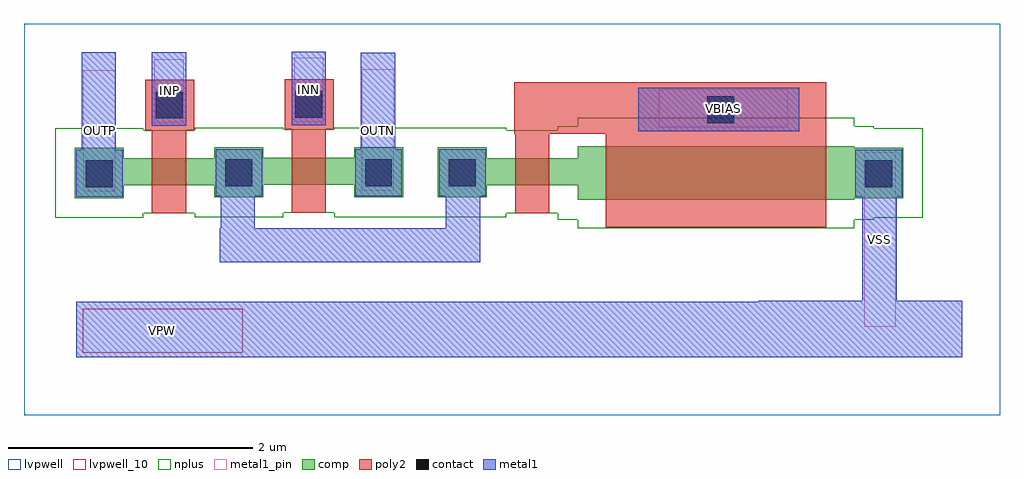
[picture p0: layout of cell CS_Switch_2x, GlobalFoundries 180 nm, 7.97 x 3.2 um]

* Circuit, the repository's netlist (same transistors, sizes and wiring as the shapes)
** sch_path: /home/ducluong/CS_DAC/xschem/CS_Switch_2x.sch
.subckt CS_Switch_2x OUTN OUTP INP INN VBIAS VSS
*.PININFO INP:I INN:I OUTP:O OUTN:O VBIAS:B VSS:B
M1 net1 VBIAS net2 VSS nfet_03v3 L=0.28u W=0.22u nf=1 m=1
M2 OUTN INN net1 VSS nfet_03v3 L=0.28u W=0.22u nf=1 m=1
M3 OUTP INP net1 VSS nfet_03v3 L=0.28u W=0.22u nf=1 m=1
M5 net2 VBIAS VSS VSS nfet_03v3 L=1.8u W=0.44u nf=1 m=1
.ends
.end

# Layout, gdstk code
import gdstk
lib = gdstk.Library(unit=1e-6, precision=1e-09)
def R(c, l, rs):  # rectangles x0, y0, x1, y1
    for r in rs: c.add(gdstk.rectangle(r[:2], r[2:], *l))
comp = (22, 0)
poly2 = (30, 0)
nplus = (32, 0)
contact = (33, 0)
metal1 = (34, 0)
metal1_pin = (34, 10)
lvpwell = (204, 0)
lvpwell_10 = (204, 10)

cs_switch_2x = lib.new_cell('CS_Switch_2x')
R(cs_switch_2x, comp, [(7.955,6.04,10.215,6.055), (3.85,6.055,4.25,6.16), (7.955,6.055,10.615,6.16), (4.99,6.06,5.39,6.16), (6.13,6.06,6.53,6.165), (6.815,6.06,7.215,6.16), (3.85,6.16,5.39,6.165), (6.815,6.16,10.615,6.38), (3.85,6.165,6.53,6.38), (3.85,6.38,4.25,6.465), (4.99,6.38,6.53,6.385), (6.815,6.38,7.215,6.47), (7.955,6.38,10.615,6.465), (4.99,6.385,5.39,6.47), (6.13,6.385,6.53,6.47), (7.955,6.465,10.215,6.48)])
R(cs_switch_2x, poly2, [(8.185,5.815,9.985,6.58), (4.48,5.93,4.76,6.61), (7.445,5.93,7.725,6.58), (5.62,5.935,5.9,6.615), (7.44,6.58,9.985,7), (4.425,6.61,4.825,7.02), (5.565,6.615,5.965,7.025)])
R(cs_switch_2x, nplus, [(7.955,5.81,10.215,5.88), (7.795,5.88,10.375,5.895), (3.69,5.895,4.41,5.93), (7.795,5.895,10.775,5.93), (4.83,5.9,5.55,5.93), (5.97,5.9,7.375,5.93), (3.69,5.93,5.55,5.935), (5.97,5.93,10.775,5.935), (3.69,5.935,10.775,6.61), (3.69,6.61,4.41,6.625), (4.83,6.61,7.375,6.615), (7.795,6.61,10.775,6.625), (4.83,6.615,5.55,6.63), (5.97,6.615,7.375,6.63), (7.795,6.625,10.375,6.64), (7.955,6.64,10.215,6.71)])
R(cs_switch_2x, contact, [(3.94,6.145,4.16,6.365), (10.305,6.145,10.525,6.365), (5.08,6.15,5.3,6.37), (6.22,6.15,6.44,6.37), (6.905,6.15,7.125,6.37), (9.015,6.665,9.235,6.885), (4.51,6.705,4.73,6.925), (5.65,6.71,5.87,6.93)])
R(cs_switch_2x, metal1, [(3.86,4.755,11.095,5.21), (9.43,5.21,11.095,5.215), (10.28,5.215,10.56,6.065), (5.035,5.53,7.16,5.81), (5.04,5.81,5.32,6.07), (6.88,5.81,7.16,6.07), (3.86,6.065,4.24,6.45), (10.225,6.065,10.605,6.45), (5,6.07,5.38,6.455), (6.14,6.07,6.52,6.455), (6.825,6.07,7.205,6.455), (3.905,6.45,4.185,7.245), (6.185,6.455,6.465,7.24), (8.45,6.6,9.765,6.955), (4.48,6.645,4.76,7.245), (5.62,6.65,5.9,7.25)])
R(cs_switch_2x, metal1_pin, [(10.295,5.005,10.555,6.43), (3.92,6.11,4.18,7.1), (6.195,6.115,6.455,7.105), (8.62,6.635,9.67,6.945), (4.5,6.67,4.74,7.19), (5.64,6.68,5.88,7.2)])
R(cs_switch_2x, lvpwell, [(3.435,4.28,11.405,7.48)])
R(cs_switch_2x, lvpwell_10, [(3.915,4.79,5.22,5.15)])
cs_switch_2x.add(gdstk.Label('INP', (4.62,6.93), layer=34, texttype=10))
cs_switch_2x.add(gdstk.Label('INN', (5.76,6.94), layer=34, texttype=10))
cs_switch_2x.add(gdstk.Label('OUTP', (4.05,6.605), layer=34, texttype=10))
cs_switch_2x.add(gdstk.Label('OUTN', (6.325,6.61), layer=34, texttype=10))
cs_switch_2x.add(gdstk.Label('VBIAS', (9.145,6.79), layer=34, texttype=10))
cs_switch_2x.add(gdstk.Label('VSS', (10.425,5.717), layer=34, texttype=10))
cs_switch_2x.add(gdstk.Label('VPW', (4.567,4.97), layer=204, texttype=10))

lib.write_gds('CS_Switch_2x.gds')
